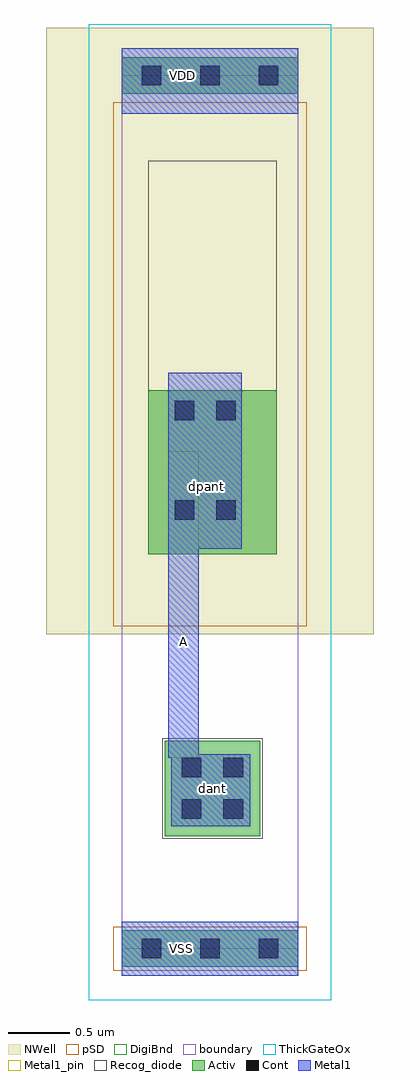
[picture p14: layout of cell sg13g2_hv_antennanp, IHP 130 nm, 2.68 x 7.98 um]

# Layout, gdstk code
import gdstk
lib = gdstk.Library(unit=1e-6, precision=1e-09)
def R(c, l, rs):  # rectangles x0, y0, x1, y1
    for r in rs: c.add(gdstk.rectangle(r[:2], r[2:], *l))
def A(c, l, x, y, w, h, nx, ny, dx, dy):  # array of equal rectangles
    R(c, l, [(x+i*dx, y+j*dy, x+i*dx+w, y+j*dy+h) for i in range(nx) for j in range(ny)])
def P(c, l, *ps):  # polygons
    for p in ps: c.add(gdstk.Polygon(p, *l))
Activ = (1, 0)
Cont = (6, 0)
Metal1 = (8, 0)
Metal1_pin = (8, 2)
pSD = (14, 0)
DigiBnd = (16, 0)
NWell = (31, 0)
ThickGateOx = (44, 0)
Recog_diode = (99, 31)
boundary = (189, 4)

sg13g2_hv_antennanp = lib.new_cell('sg13g2_hv_antennanp')
R(sg13g2_hv_antennanp, Activ, [(0,-0.15,1.44,0.15), (0.35,0.92,1.13,1.7), (0.215,3.225,1.265,4.565), (0,6.99,1.44,7.29)])
A(sg13g2_hv_antennanp, Cont, 0.16, -0.08, 0.16, 0.16, 3, 2, 0.48, 7.14)
R(sg13g2_hv_antennanp, Cont, [(0.49,1.06,0.65,1.22), (0.83,1.06,0.99,1.22), (0.49,1.4,0.65,1.56), (0.83,1.4,0.99,1.56), (0.43,3.505,0.59,3.665), (0.77,3.505,0.93,3.665), (0.43,4.32,0.59,4.48), (0.77,4.32,0.93,4.48)])
R(sg13g2_hv_antennanp, Metal1, [(0,-0.22,1.44,0.22), (0.38,3.27,0.98,4.71), (0,6.825,1.44,7.36)])
P(sg13g2_hv_antennanp, Metal1, [(0.405,1),(0.405,1.56),(0.38,1.56),(0.38,4.065),(0.63,4.065),(0.63,1.59),(1.05,1.59),(1.05,1)])
R(sg13g2_hv_antennanp, Metal1_pin, [(0,-0.22,1.44,0.22), (0.38,1.56,0.63,4.065), (0,6.825,1.44,7.36)])
R(sg13g2_hv_antennanp, pSD, [(-0.07,-0.18,1.51,0.18), (-0.07,2.635,1.51,6.92)])
R(sg13g2_hv_antennanp, DigiBnd, [(0,0,1.44,7.14)])
R(sg13g2_hv_antennanp, NWell, [(-0.62,2.57,2.06,7.53)])
R(sg13g2_hv_antennanp, ThickGateOx, [(-0.27,-0.42,1.71,7.56)])
R(sg13g2_hv_antennanp, Recog_diode, [(0.33,0.9,1.15,1.72), (0.215,3.225,1.265,6.44)])
R(sg13g2_hv_antennanp, boundary, [(0,0,1.44,7.14)])
sg13g2_hv_antennanp.add(gdstk.Label('A', (0.505,2.515), layer=8, texttype=25))
sg13g2_hv_antennanp.add(gdstk.Label('VSS', (0.49,0), layer=8, texttype=25))
sg13g2_hv_antennanp.add(gdstk.Label('VDD', (0.495,7.14), layer=8, texttype=25))
sg13g2_hv_antennanp.add(gdstk.Label('dpant', (0.695,3.775), layer=63, texttype=0))
sg13g2_hv_antennanp.add(gdstk.Label('dant', (0.74,1.31), layer=63, texttype=0))

lib.write_gds('sg13g2_hv_antennanp.gds')
